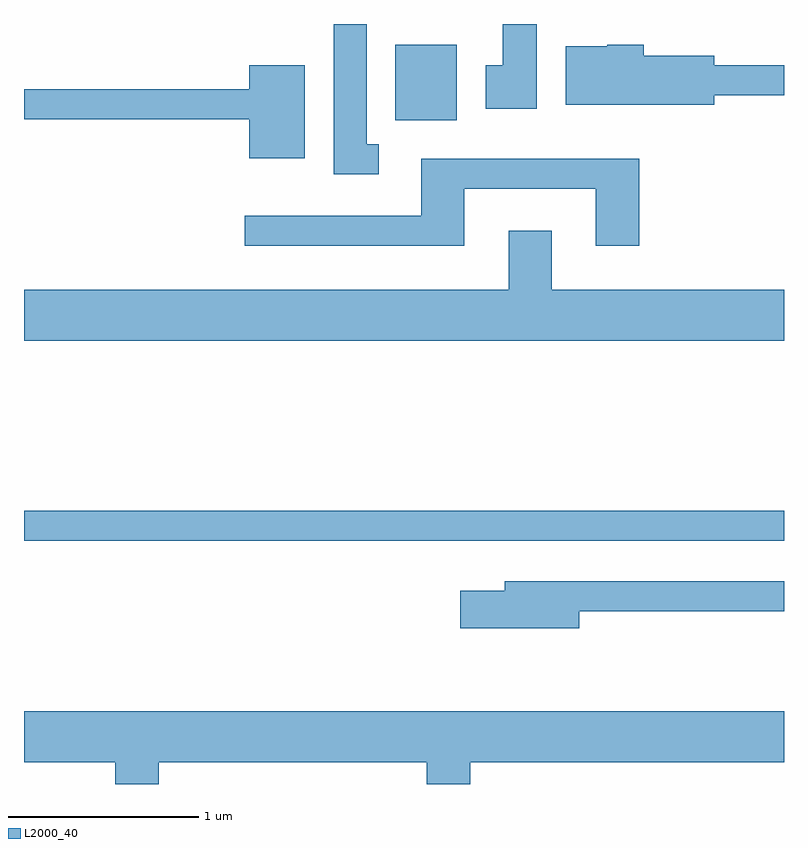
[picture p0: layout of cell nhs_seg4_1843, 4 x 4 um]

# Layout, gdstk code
import gdstk
lib = gdstk.Library(unit=1e-6, precision=1e-09)
def R(c, l, rs):  # rectangles x0, y0, x1, y1
    for r in rs: c.add(gdstk.rectangle(r[:2], r[2:], *l))
def P(c, l, *ps):  # polygons
    for p in ps: c.add(gdstk.Polygon(p, *l))
L2000_40 = (2000, 40)

nhs_seg4_1843 = lib.new_cell('nhs_seg4_1843')
R(nhs_seg4_1843, L2000_40, [(239.611,1269.261,243.611,1269.419), (241.566,1271.476,241.889,1271.874)])
P(nhs_seg4_1843, L2000_40, [(241.478,1271.349),(241.414,1271.349),(241.414,1271.982),(241.241,1271.982),(241.241,1271.191),(241.478,1271.191)],
  [(242.309,1271.982),(242.131,1271.982),(242.131,1271.764),(242.041,1271.764),(242.041,1271.536),(242.309,1271.536)],
  [(243.244,1271.606),(243.611,1271.606),(243.611,1271.764),(243.244,1271.764),(243.244,1271.814),(242.874,1271.814),(242.874,1271.874),(242.68,1271.874),(242.68,1271.864),(242.461,1271.864),(242.461,1271.556),(243.244,1271.556)],
  [(241.089,1271.764),(240.796,1271.764),(240.796,1271.639),(239.611,1271.639),(239.611,1271.481),(240.796,1271.481),(240.796,1271.276),(241.089,1271.276)],
  [(241.929,1271.116),(242.621,1271.116),(242.621,1270.816),(242.849,1270.816),(242.849,1271.274),(241.701,1271.274),(241.701,1270.974),(240.773,1270.974),(240.773,1270.816),(241.929,1270.816)],
  [(243.611,1270.584),(242.389,1270.584),(242.389,1270.894),(242.161,1270.894),(242.161,1270.584),(239.611,1270.584),(239.611,1270.316),(243.611,1270.316)],
  [(242.534,1268.891),(243.611,1268.891),(243.611,1269.049),(242.141,1269.049),(242.141,1268.999),(241.906,1268.999),(241.906,1268.801),(242.534,1268.801)],
  [(240.319,1268.096),(241.731,1268.096),(241.731,1267.982),(241.959,1267.982),(241.959,1268.096),(243.611,1268.096),(243.611,1268.364),(239.611,1268.364),(239.611,1268.096),(240.091,1268.096),(240.091,1267.982),(240.319,1267.982)])

lib.write_gds('nhs_seg4_1843.gds')
